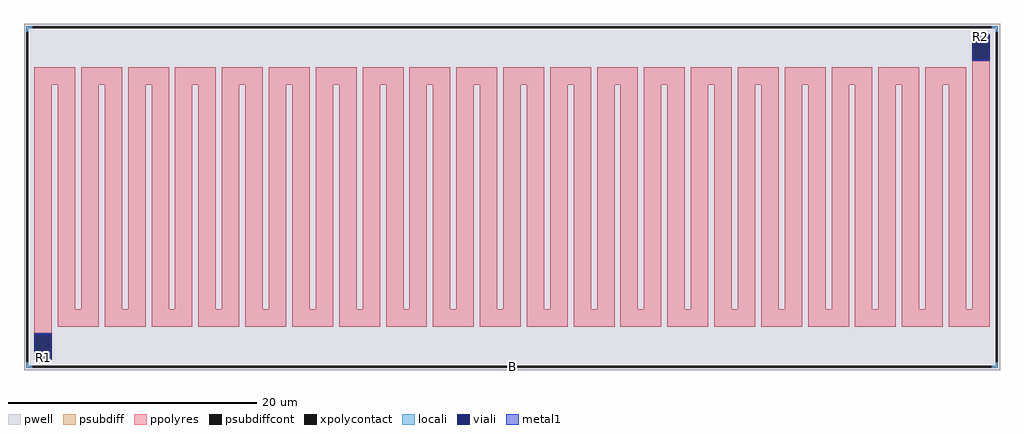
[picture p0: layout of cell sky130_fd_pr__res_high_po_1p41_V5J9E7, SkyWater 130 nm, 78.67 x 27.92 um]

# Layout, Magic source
magic
tech sky130A
magscale 1 2
<< pwell >>
rect -7867 -2792 7867 2792
<< psubdiff >>
rect -7831 2722 -7735 2756
rect 7735 2722 7831 2756
rect -7831 2660 -7797 2722
rect 7797 2660 7831 2722
rect -7831 -2722 -7797 -2660
rect 7797 -2722 7831 -2660
rect -7831 -2756 -7735 -2722
rect 7735 -2756 7831 -2722
<< psubdiffcont >>
rect -7735 2722 7735 2756
rect -7831 -2660 -7797 2660
rect 7797 -2660 7831 2660
rect -7735 -2756 7735 -2722
<< xpolycontact >>
rect 7419 2194 7701 2626
rect -7701 -2626 -7419 -2194
<< ppolyres >>
rect -7701 1808 -7041 2090
rect -7701 -2194 -7419 1808
rect -7323 -1808 -7041 1808
rect -6945 1808 -6285 2090
rect -6945 -1808 -6663 1808
rect -7323 -2090 -6663 -1808
rect -6567 -1808 -6285 1808
rect -6189 1808 -5529 2090
rect -6189 -1808 -5907 1808
rect -6567 -2090 -5907 -1808
rect -5811 -1808 -5529 1808
rect -5433 1808 -4773 2090
rect -5433 -1808 -5151 1808
rect -5811 -2090 -5151 -1808
rect -5055 -1808 -4773 1808
rect -4677 1808 -4017 2090
rect -4677 -1808 -4395 1808
rect -5055 -2090 -4395 -1808
rect -4299 -1808 -4017 1808
rect -3921 1808 -3261 2090
rect -3921 -1808 -3639 1808
rect -4299 -2090 -3639 -1808
rect -3543 -1808 -3261 1808
rect -3165 1808 -2505 2090
rect -3165 -1808 -2883 1808
rect -3543 -2090 -2883 -1808
rect -2787 -1808 -2505 1808
rect -2409 1808 -1749 2090
rect -2409 -1808 -2127 1808
rect -2787 -2090 -2127 -1808
rect -2031 -1808 -1749 1808
rect -1653 1808 -993 2090
rect -1653 -1808 -1371 1808
rect -2031 -2090 -1371 -1808
rect -1275 -1808 -993 1808
rect -897 1808 -237 2090
rect -897 -1808 -615 1808
rect -1275 -2090 -615 -1808
rect -519 -1808 -237 1808
rect -141 1808 519 2090
rect -141 -1808 141 1808
rect -519 -2090 141 -1808
rect 237 -1808 519 1808
rect 615 1808 1275 2090
rect 615 -1808 897 1808
rect 237 -2090 897 -1808
rect 993 -1808 1275 1808
rect 1371 1808 2031 2090
rect 1371 -1808 1653 1808
rect 993 -2090 1653 -1808
rect 1749 -1808 2031 1808
rect 2127 1808 2787 2090
rect 2127 -1808 2409 1808
rect 1749 -2090 2409 -1808
rect 2505 -1808 2787 1808
rect 2883 1808 3543 2090
rect 2883 -1808 3165 1808
rect 2505 -2090 3165 -1808
rect 3261 -1808 3543 1808
rect 3639 1808 4299 2090
rect 3639 -1808 3921 1808
rect 3261 -2090 3921 -1808
rect 4017 -1808 4299 1808
rect 4395 1808 5055 2090
rect 4395 -1808 4677 1808
rect 4017 -2090 4677 -1808
rect 4773 -1808 5055 1808
rect 5151 1808 5811 2090
rect 5151 -1808 5433 1808
rect 4773 -2090 5433 -1808
rect 5529 -1808 5811 1808
rect 5907 1808 6567 2090
rect 5907 -1808 6189 1808
rect 5529 -2090 6189 -1808
rect 6285 -1808 6567 1808
rect 6663 1808 7323 2090
rect 6663 -1808 6945 1808
rect 6285 -2090 6945 -1808
rect 7041 -1808 7323 1808
rect 7419 -1808 7701 2194
rect 7041 -2090 7701 -1808
<< locali >>
rect -7831 2722 -7735 2756
rect 7735 2722 7831 2756
rect -7831 2660 -7797 2722
rect 7797 2660 7831 2722
rect -7831 -2722 -7797 -2660
rect 7797 -2722 7831 -2660
rect -7831 -2756 -7735 -2722
rect 7735 -2756 7831 -2722
<< viali >>
rect 7435 2211 7685 2608
rect -7685 -2608 -7435 -2211
<< metal1 >>
rect 7429 2608 7691 2620
rect 7429 2211 7435 2608
rect 7685 2211 7691 2608
rect 7429 2199 7691 2211
rect -7691 -2211 -7429 -2199
rect -7691 -2608 -7685 -2211
rect -7435 -2608 -7429 -2211
rect -7691 -2620 -7429 -2608
<< labels >>
rlabel psubdiffcont 0 -2739 0 -2739 0 B
port 1 nsew
rlabel xpolycontact -7560 -2591 -7560 -2591 0 R1
port 2 nsew
rlabel xpolycontact 7560 2591 7560 2591 0 R2
port 3 nsew
<< properties >>
string FIXED_BBOX -7814 -2739 7814 2739
string gencell sky130_fd_pr__res_high_po_1p41
string library sky130
string parameters w 1.41 l 20.900000000000002 m 1 nx 41 wmin 1.410 lmin 0.50 class resistor rho 319.8 val 207.42k dummy 0 dw 0.0 term 194.82 sterm 0.0 caplen 0 guard 1 glc 1 grc 1 gtc 1 gbc 1 compatible {sky130_fd_pr__res_high_po_0p35  sky130_fd_pr__res_high_po_0p69 sky130_fd_pr__res_high_po_1p41  sky130_fd_pr__res_high_po_2p85 sky130_fd_pr__res_high_po_5p73} snake 1 full_metal 1 wmax 1.410 n_guard 0 hv_guard 0 vias 1 viagb 0 viagt 0 viagl 0 viagr 0 doports 1
<< end >>
